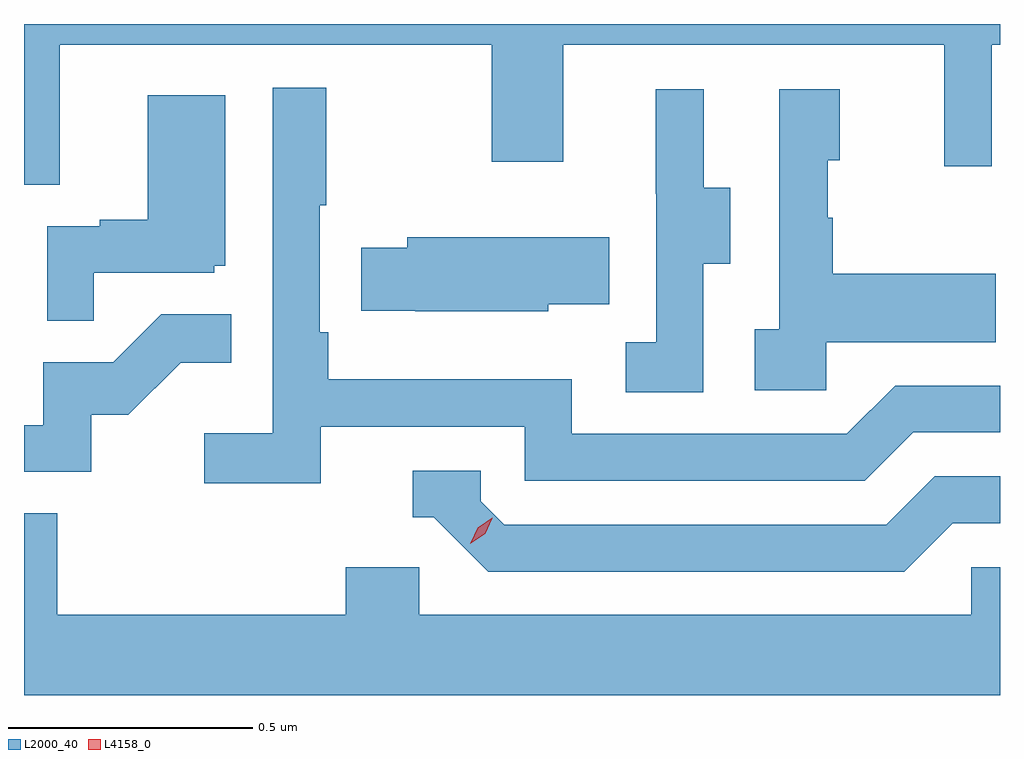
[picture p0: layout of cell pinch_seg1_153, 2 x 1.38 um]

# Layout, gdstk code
import gdstk
lib = gdstk.Library(unit=1e-6, precision=1e-09)
def P(c, l, *ps):  # polygons
    for p in ps: c.add(gdstk.Polygon(p, *l))
L2000_40 = (2000, 40)
L4158_0 = (4158, 0)

pinch_seg1_153 = lib.new_cell('pinch_seg1_153')
P(pinch_seg1_153, L2000_40, [(1114.879,563.72),(1115.764,563.72),(1115.764,563.481),(1115.911,563.481),(1115.911,563.72),(1116.692,563.72),(1116.692,563.472),(1116.789,563.472),(1116.789,563.72),(1116.806,563.72),(1116.806,563.763),(1114.806,563.763),(1114.806,563.434),(1114.879,563.434)],
  [(1115.414,562.938),(1115.832,562.938),(1115.832,562.827),(1116.529,562.827),(1116.628,562.926),(1116.806,562.926),(1116.806,563.022),(1116.591,563.022),(1116.492,562.923),(1115.928,562.923),(1115.928,563.035),(1115.429,563.035),(1115.429,563.131),(1115.412,563.131),(1115.412,563.392),(1115.425,563.392),(1115.425,563.632),(1115.316,563.632),(1115.316,562.924),(1115.175,562.924),(1115.175,562.822),(1115.414,562.822)],
  [(1116.45,563.111),(1116.797,563.111),(1116.797,563.251),(1116.463,563.251),(1116.463,563.366),(1116.453,563.366),(1116.453,563.484),(1116.478,563.484),(1116.478,563.629),(1116.354,563.629),(1116.354,563.138),(1116.303,563.138),(1116.303,563.013),(1116.45,563.013)],
  [(1116.198,563.272),(1116.253,563.272),(1116.253,563.427),(1116.199,563.427),(1116.199,563.629),(1116.101,563.629),(1116.101,563.415),(1116.102,563.415),(1116.102,563.111),(1116.039,563.111),(1116.039,563.008),(1116.198,563.008)],
  [(1114.949,563.253),(1115.196,563.253),(1115.196,563.268),(1115.218,563.268),(1115.218,563.617),(1115.06,563.617),(1115.06,563.362),(1114.961,563.362),(1114.961,563.349),(1114.854,563.349),(1114.854,563.155),(1114.949,563.155)],
  [(1115.88,563.189),(1116.005,563.189),(1116.005,563.326),(1115.591,563.326),(1115.591,563.304),(1115.497,563.304),(1115.497,563.175),(1115.608,563.175),(1115.608,563.174),(1115.88,563.174)],
  [(1114.944,562.962),(1115.02,562.962),(1115.127,563.069),(1115.231,563.069),(1115.231,563.168),(1115.087,563.168),(1114.989,563.07),(1114.845,563.07),(1114.845,562.941),(1114.806,562.941),(1114.806,562.845),(1114.944,562.845)],
  [(1116.709,562.74),(1116.806,562.74),(1116.806,562.836),(1116.672,562.836),(1116.573,562.737),(1115.79,562.737),(1115.742,562.785),(1115.742,562.848),(1115.603,562.848),(1115.603,562.752),(1115.646,562.752),(1115.757,562.641),(1116.61,562.641)],
  [(1116.806,562.65),(1116.747,562.65),(1116.747,562.552),(1115.616,562.552),(1115.616,562.65),(1115.465,562.65),(1115.465,562.552),(1114.874,562.552),(1114.874,562.76),(1114.806,562.76),(1114.806,562.388),(1116.806,562.388)])
P(pinch_seg1_153, L4158_0, [(1115.72,562.698),(1115.72,562.698),(1115.736,562.731),(1115.766,562.751),(1115.766,562.751),(1115.766,562.75),(1115.751,562.718),(1115.72,562.698)])

lib.write_gds('pinch_seg1_153.gds')
